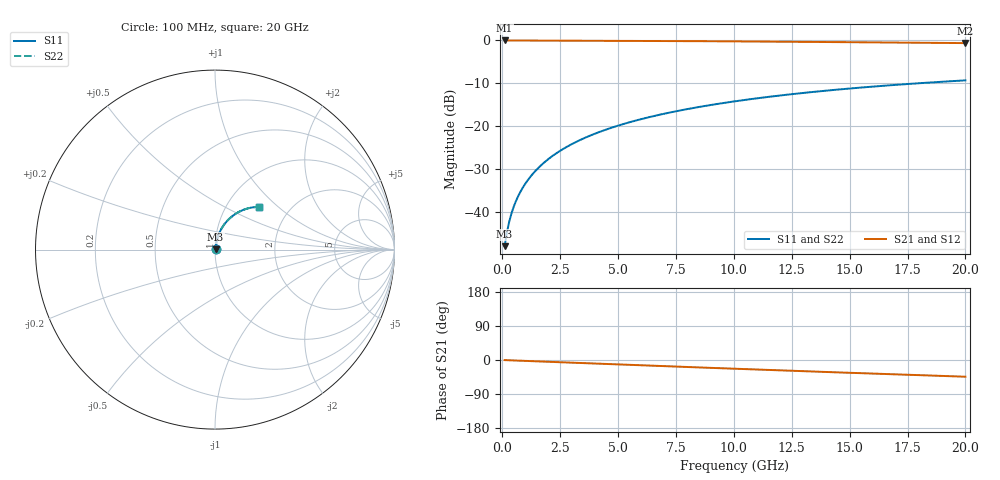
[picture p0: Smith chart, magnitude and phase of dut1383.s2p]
! Touchstone file exported from HFSS 2026.1.0
!  File:  C:/ffzhzh/LocalFiles/Ansys_Project_Files/temp_train_TMRDL_1383_1783166082_43440.aedt
!  Generated:  07:55:54 PM Jul  4, 2026
!  Design:  TMRDL
!  Project:  temp_train_TMRDL_1383_1783166082_43440
! Variables:
!  h_bsmrdl = 2um
!  h_ox = 20um
!  h_rdl = 5um
!  h_sub = 80um
!  h_tmrdl = 2.96um
!  h_tsv = 80um
!  h_via = 3um
!  l_bsmrdl = 300um
!  l_sub = 1073.82um
!  l_tmrdl = 673.82um
!  m_sub = 200um
!  pitch = 49.12um
!  r_tsv = 6um
!  s_tmrdl = 10um
!  w_bsmrdl = 18um
!  w_sub = 500um
!  w_tmrdl = 27.52um
!  x_tsv_center1 = 687.58um
!  x_tsv_center2 = 1005.58um
!  x_tsv_center3 = 1706.92um
!  x_tsv_center4 = 2024.92um
!  x_tsv_center5 = 2726.26um
!  x_tsv_center6 = 3044.26um
# GHz S MA R 50.000000
! Terminal data exported
! Port[1] = TM_RDL1_1_T1
! Port[2] = TM_RDL1_1_T2
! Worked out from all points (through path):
!   200 points, 100 MHz to 20 GHz, reference 50 ohm
!   highest |S21| = -0.03 dB at 100 MHz (marker M1); lowest = -0.6 dB at 20 GHz (marker M2)
!   group delay of S21, straight-line fit = 6.13 ps
!   lowest |S11| = -47.9 dB at 100 MHz (marker M3), VSWR 1.01, Z = 50.3 + j0.238 ohm
!   |S11| at or under -10 dB: start of sweep to 17.97 GHz
!   |S22| runs from -47.9 to -9.3 dB; largest |S21 - S12| = 2.1e-15
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0.1  0.004005 36.2  0.9968 -0.3  0.9968 -0.3  0.004005 36.2
! Gamma 0 0 0 0
! Port Impedance 50 0 50 0
0.2  0.005779 53.3  0.9966 -0.5  0.9966 -0.5  0.005779 53.3
0.3  0.007741 61.3  0.9963 -0.7  0.9963 -0.7  0.007741 61.3
0.4  0.009712 65.8  0.9961 -1.0  0.9961 -1.0  0.009712 65.8
0.5  0.01167 68.9  0.996 -1.2  0.996 -1.2  0.01167 68.9
0.6  0.01363 71.1  0.9958 -1.4  0.9958 -1.4  0.01363 71.1
0.8  0.01756 74.0  0.9956 -1.9  0.9956 -1.9  0.01756 74.0
1.1  0.02351 76.6  0.9953 -2.6  0.9953 -2.6  0.02351 76.6
1.3  0.02751 77.5  0.9952 -3.1  0.9952 -3.1  0.02751 77.5
1.6  0.03354 78.4  0.9949 -3.8  0.9949 -3.8  0.03354 78.4
2.1  0.04364 78.8  0.9944 -4.9  0.9944 -4.9  0.04364 78.8
2.7  0.05575 78.6  0.9936 -6.3  0.9936 -6.3  0.05575 78.6
3.5  0.07182 77.6  0.9922 -8.2  0.9922 -8.2  0.07182 77.6
4.2  0.08576 76.5  0.9908 -9.8  0.9908 -9.8  0.08576 76.5
5  0.1015 75.0  0.989 -11.7  0.989 -11.7  0.1015 75.0
5.9  0.119 73.2  0.9866 -13.7  0.9866 -13.7  0.119 73.2
6.8  0.1361 71.4  0.9839 -15.8  0.9839 -15.8  0.1361 71.4
8.3  0.1639 68.2  0.979 -19.2  0.979 -19.2  0.1639 68.2
10.1  0.1959 64.4  0.9722 -23.2  0.9722 -23.2  0.1959 64.4
13.4  0.2503 57.4  0.9585 -30.4  0.9585 -30.4  0.2503 57.4
16.7  0.299 50.7  0.9436 -37.3  0.9436 -37.3  0.299 50.7
20  0.3417 44.1  0.9286 -44.1  0.9286 -44.1  0.3417 44.1
